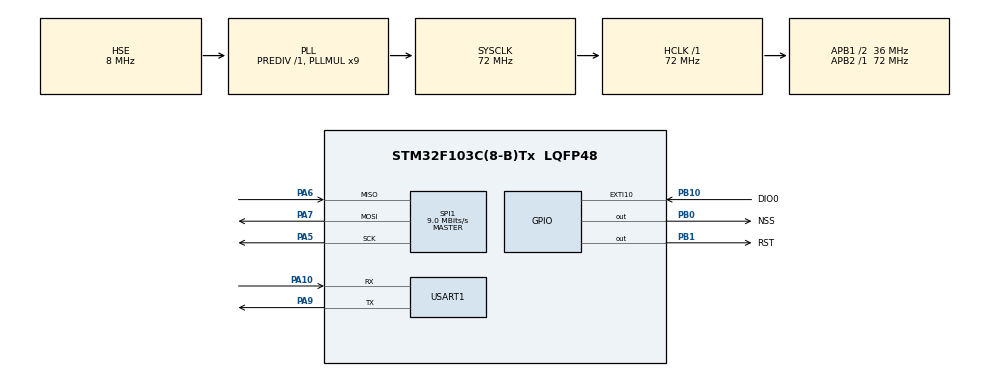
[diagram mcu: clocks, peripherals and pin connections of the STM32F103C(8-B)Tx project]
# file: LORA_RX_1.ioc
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Mcu.Family=STM32F1
Mcu.Name=STM32F103C(8-B)Tx
Mcu.Package=LQFP48
NVIC.PriorityGroup=NVIC_PRIORITYGROUP_4
PA10.Mode=Asynchronous
PA10.Signal=USART1_RX
PA13.Mode=Serial_Wire
PA13.Signal=SYS_JTMS-SWDIO
PA14.Mode=Serial_Wire
PA14.Signal=SYS_JTCK-SWCLK
PA5.Mode=Full_Duplex_Master
PA5.Signal=SPI1_SCK
PA6.Mode=Full_Duplex_Master
PA6.Signal=SPI1_MISO
PA7.Mode=Full_Duplex_Master
PA7.Signal=SPI1_MOSI
PA9.Mode=Asynchronous
PA9.Signal=USART1_TX
PB0.GPIO_Label=NSS
PB0.PinState=GPIO_PIN_SET
PB0.Signal=GPIO_Output
PB1.GPIO_Label=RST
PB1.PinState=GPIO_PIN_SET
PB1.Signal=GPIO_Output
PB10.GPIO_Label=DIO0
PB10.Signal=GPXTI10
PD0-OSC_IN.Mode=HSE-External-Oscillator
PD0-OSC_IN.Signal=RCC_OSC_IN
PD1-OSC_OUT.Mode=HSE-External-Oscillator
PD1-OSC_OUT.Signal=RCC_OSC_OUT
ProjectManager.HeapSize=0x200
ProjectManager.StackSize=0x400
ProjectManager.TargetToolchain=STM32CubeIDE
RCC.AHBFreq_Value=72000000
RCC.APB1CLKDivider=RCC_HCLK_DIV2
RCC.APB1Freq_Value=36000000
RCC.APB1TimFreq_Value=72000000
RCC.APB2Freq_Value=72000000
RCC.APB2TimFreq_Value=72000000
RCC.HCLKFreq_Value=72000000
RCC.PLLMUL=RCC_PLL_MUL9
RCC.PLLSourceVirtual=RCC_PLLSOURCE_HSE
RCC.SYSCLKFreq_VALUE=72000000
RCC.SYSCLKSource=RCC_SYSCLKSOURCE_PLLCLK
RCC.USBFreq_Value=72000000
SPI1.BaudRatePrescaler=SPI_BAUDRATEPRESCALER_8
SPI1.CalculateBaudRate=9.0 MBits/s
SPI1.Direction=SPI_DIRECTION_2LINES
SPI1.Mode=SPI_MODE_MASTER
SPI1.VirtualType=VM_MASTER
USART1.VirtualMode=VM_ASYNC
board=custom

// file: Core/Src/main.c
/* USER CODE BEGIN Header */
/**
  ******************************************************************************
  * @file           : main.c
  * @brief          : Main program body
  ******************************************************************************
  * @attention
  *
  * Copyright (c) 2025 STMicroelectronics.
  * All rights reserved.
  *
  * This software is licensed under terms that can be found in the LICENSE file
  * in the root directory of this software component.
  * If no LICENSE file comes with this software, it is provided AS-IS.
  *
  ******************************************************************************
  */
/* USER CODE END Header */
#include "main.h"
#include "spi.h"
#include "gpio.h"
#include "usart.h"

/* USER CODE BEGIN Includes */
#include "LoRa.h"
#include <stdio.h>
#include <string.h>
// no need for string.h here, we don't use strlen
/* USER CODE END Includes */

/* USER CODE BEGIN PV */
LoRa myLoRa;
uint16_t LoRa_stat = 0;
uint8_t RxBuffer[128];
const char *debug = "lora started successfully";
/* USER CODE END PV */

void SystemClock_Config(void);

int main(void)
{
  /* USER CODE BEGIN 1 */
	  /* MCU Configuration--------------------------------------------------------*/
	  HAL_Init();
	  SystemClock_Config();

	  /* Initialize all configured peripherals */
	  MX_GPIO_Init();
	  MX_SPI1_Init();
	  MX_USART1_UART_Init();
  /* USER CODE END 1 */

  /* Configure the system clock */

  /* Initialize all configured peripherals */

  /* USER CODE BEGIN 2 */

	  // 🔹 1) Prove UART + code are alive
	    HAL_UART_Transmit(&huart1, (uint8_t*)"BOOT RX\r\n", 9, 100);

	    myLoRa = newLoRa();

	    myLoRa.CS_port         = NSS_GPIO_Port;
	    myLoRa.CS_pin          = NSS_Pin;
	    myLoRa.reset_port      = RST_GPIO_Port;
	    myLoRa.reset_pin       = RST_Pin;
	    myLoRa.DIO0_port       = DIO0_GPIO_Port;
	    myLoRa.DIO0_pin        = DIO0_Pin;
	    myLoRa.hSPIx           = &hspi1;

	    myLoRa.frequency             = 433;             // default = 433 MHz
	    myLoRa.spredingFactor        = SF_7;            // default = SF_7
	    myLoRa.bandWidth             = BW_125KHz;       // default = BW_125KHz
	    myLoRa.crcRate               = CR_4_5;          // default = CR_4_5
	    myLoRa.power                 = POWER_17db;      // default = 20db
	    myLoRa.overCurrentProtection = 100;             // default = 100 mA
	    myLoRa.preamble              = 8;               // default = 8;

	    if(LoRa_init(&myLoRa)==LORA_OK){
	        LoRa_stat=1;
	        HAL_UART_Transmit(&huart1, (uint8_t*)"LoRa init OK\r\n", 14, 100);
	    } else {
	        HAL_UART_Transmit(&huart1, (uint8_t*)"LoRa init FAIL\r\n", 16, 100);
	    }

	    LoRa_startReceiving(&myLoRa);
  /* USER CODE END 2 */

  /* Infinite loop */
  /* USER CODE BEGIN WHILE */
  while (1)
  {
	  HAL_UART_Transmit(&huart1, (uint8_t*)"loop\r\n", 6, 100);

	      int16_t len = LoRa_receive(&myLoRa, RxBuffer, sizeof(RxBuffer));
	      if (len > 0)
	      {
	          // 1) Print the received payload
	          HAL_UART_Transmit(&huart1, (uint8_t*)"Packet: ", 8, 100);
	          HAL_UART_Transmit(&huart1, RxBuffer, len, 100);

	          // 2) Get RSSI of the last packet
	          int rssi = LoRa_getRSSI(&myLoRa);   // ✅ IMPORTANT: pass &myLoRa

	          // 3) Print RSSI as text
	          char buf[32];
	          int n = snprintf(buf, sizeof(buf), "  RSSI=%d dBm\r\n", rssi);
	          if (n > 0 && n < (int)sizeof(buf)) {
	              HAL_UART_Transmit(&huart1, (uint8_t*)buf, n, 100);
	          } else {
	              // Fallback newline if snprintf fails
	              uint8_t nl[2] = "\r\n";
	              HAL_UART_Transmit(&huart1, nl, 2, 100);
	          }
	      }

	      HAL_Delay(500);

    /* USER CODE END WHILE */

  }
}

void SystemClock_Config(void)
{
  RCC_OscInitTypeDef RCC_OscInitStruct = {0};
  RCC_ClkInitTypeDef RCC_ClkInitStruct = {0};

  /** Initializes the RCC Oscillators according to the specified parameters
  * in the RCC_OscInitTypeDef structure.
  */
  RCC_OscInitStruct.OscillatorType = RCC_OSCILLATORTYPE_HSE;
  RCC_OscInitStruct.HSEState = RCC_HSE_ON;
  RCC_OscInitStruct.HSEPredivValue = RCC_HSE_PREDIV_DIV1;
  RCC_OscInitStruct.HSIState = RCC_HSI_ON;
  RCC_OscInitStruct.PLL.PLLState = RCC_PLL_ON;
  RCC_OscInitStruct.PLL.PLLSource = RCC_PLLSOURCE_HSE;
  RCC_OscInitStruct.PLL.PLLMUL = RCC_PLL_MUL9;
  if (HAL_RCC_OscConfig(&RCC_OscInitStruct) != HAL_OK)
  {
    Error_Handler();
  }

  /** Initializes the CPU, AHB and APB buses clocks
  */
  RCC_ClkInitStruct.ClockType = RCC_CLOCKTYPE_HCLK|RCC_CLOCKTYPE_SYSCLK
                              |RCC_CLOCKTYPE_PCLK1|RCC_CLOCKTYPE_PCLK2;
  RCC_ClkInitStruct.SYSCLKSource = RCC_SYSCLKSOURCE_PLLCLK;
  RCC_ClkInitStruct.AHBCLKDivider = RCC_SYSCLK_DIV1;
  RCC_ClkInitStruct.APB1CLKDivider = RCC_HCLK_DIV2;
  RCC_ClkInitStruct.APB2CLKDivider = RCC_HCLK_DIV1;

  if (HAL_RCC_ClockConfig(&RCC_ClkInitStruct, FLASH_LATENCY_2) != HAL_OK)
  {
    Error_Handler();
  }
}

/* USER CODE BEGIN 4 */

// 🔴 EXTI callback no longer needed; you can delete or keep it commented
/*
void HAL_GPIO_EXTI_Callback(uint16_t GPIO_Pin)
{
    if (GPIO_Pin == DIO0_Pin)
    {
        int16_t len = LoRa_recieve(&myLoRa, RxBuffer, sizeof(RxBuffer));
        if (len > 0)
        {
            HAL_UART_Transmit(&huart1, RxBuffer, len, 100);
            uint8_t newline[2] = "\r\n";
            HAL_UART_Transmit(&huart1, newline, 2, 100);
        }
    }
}
*/

/* USER CODE END 4 */

void Error_Handler(void)
{
  __disable_irq();
  while (1)
  {
  }
}
